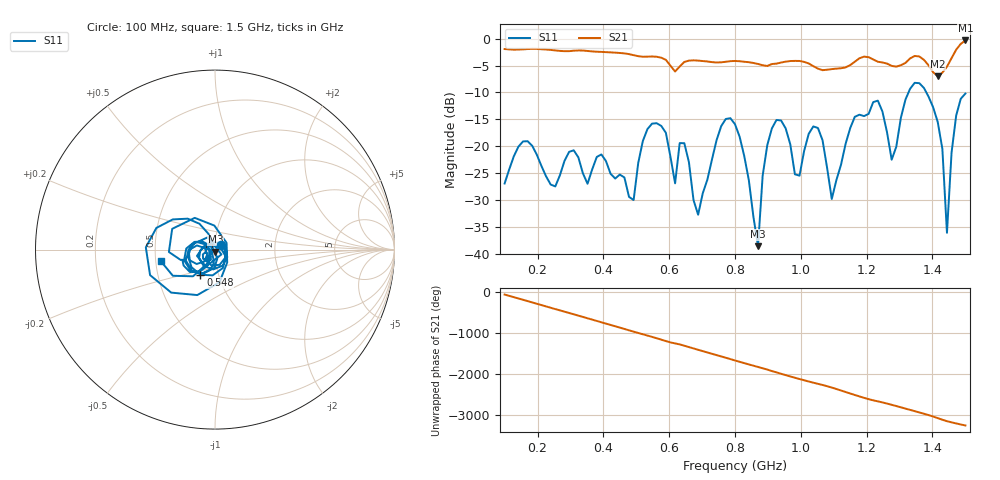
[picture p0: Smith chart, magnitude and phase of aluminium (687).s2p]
! NanoVNA-App
! Date: 2025-09-25 15:00:37
! Start: 100MHz Stop: 1,5GHz Points: 101
! S-Parameter data: F S11 S21 S12 S22
# Hz S RI R 50
!  Frequency  S11_Real  S11_Imag  S21_Real  S21_Imag  S12_Real  S12_Imag  S22_Real  S22_Imag
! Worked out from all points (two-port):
!   101 points, 100 MHz to 1.5 GHz, reference 50 ohm
!   highest |S21| = -0.32 dB at 1.5 GHz (marker M1); lowest = -7.0 dB at 1.416 GHz (marker M2)
!   |S21| within 3 dB of the highest: start of sweep to 515.4 MHz; 1.461 GHz to end of sweep (the widest 2 of 4)
!   lowest |S11| = -38.6 dB at 870 MHz (marker M3), VSWR 1.02, Z = 50.2 - j1.16 ohm
!   |S11| at or under -10 dB: start of sweep to 1.327 GHz; 1.381 GHz to end of sweep
!   S12 and S22 are empty: the file has one direction only
!   S11 on the Smith chart (normalised r, x): 100 MHz: 1.07, +0.06; 548 MHz: 0.82, -0.24; 1.5 GHz: 0.53, -0.08
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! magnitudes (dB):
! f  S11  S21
! 100 MHz  -27.0  -1.9
! 156 MHz  -19.1  -2.0
! 338 MHz  -25.1  -2.2
! 492 MHz  -30.0  -3.1
! 548 MHz  -15.8  -3.3
! 576 MHz  -16.2  -3.5
! 618 MHz  -26.9  -6.1
! 646 MHz  -19.5  -4.3
! 688 MHz  -32.8  -4.1
! 800 MHz  -15.9  -4.1
! 870 MHz  -38.6  -4.7
! 912 MHz  -16.7  -4.7
! 996 MHz  -25.5  -4.1
! 1.038 GHz  -16.3  -5.1
! 1.094 GHz  -29.8  -5.7
! 1.22 GHz  -11.8  -3.9
! 1.276 GHz  -22.5  -5.1
! 1.346 GHz  -8.2  -3.2
! 1.416 GHz  -15.5  -7.0
! 1.444 GHz  -36.1  -5.2
! 1.472 GHz  -14.3  -2.0
! 1.5 GHz  -10.2  -0.3
